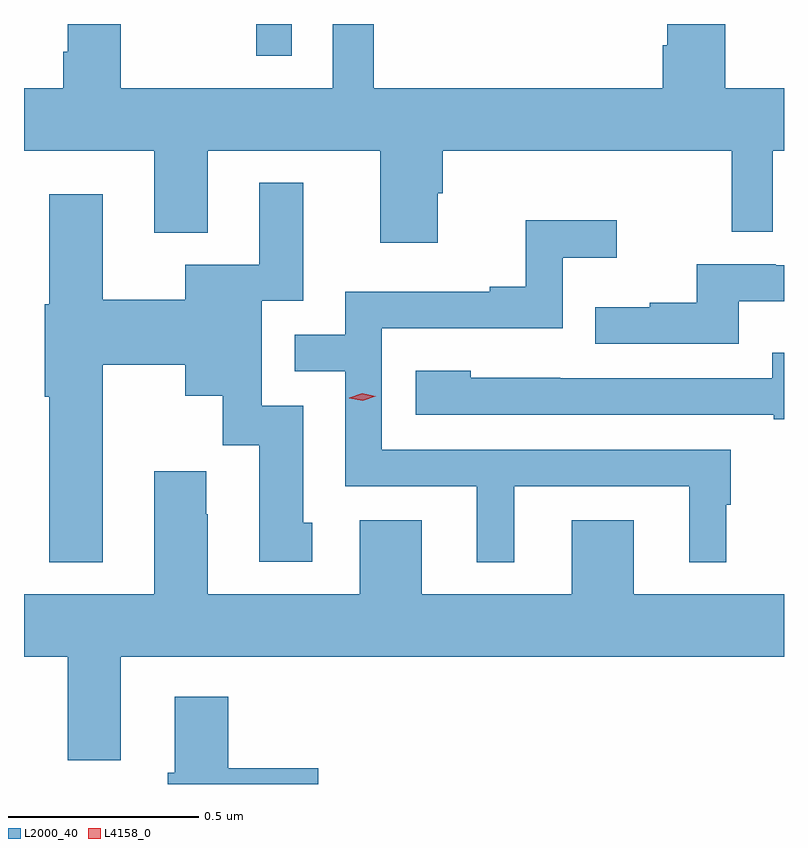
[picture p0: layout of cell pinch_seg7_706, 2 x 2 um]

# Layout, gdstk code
import gdstk
lib = gdstk.Library(unit=1e-6, precision=1e-09)
def R(c, l, rs):  # rectangles x0, y0, x1, y1
    for r in rs: c.add(gdstk.rectangle(r[:2], r[2:], *l))
def P(c, l, *ps):  # polygons
    for p in ps: c.add(gdstk.Polygon(p, *l))
L2000_40 = (2000, 40)
L4158_0 = (4158, 0)

pinch_seg7_706 = lib.new_cell('pinch_seg7_706')
R(pinch_seg7_706, L2000_40, [(214.149,1032.833,214.242,1032.917)])
P(pinch_seg7_706, L2000_40, [(214.627,1032.471),(214.64,1032.471),(214.64,1032.584),(215.4,1032.584),(215.4,1032.37),(215.508,1032.37),(215.508,1032.584),(215.538,1032.584),(215.538,1032.748),(215.383,1032.748),(215.383,1032.917),(215.231,1032.917),(215.231,1032.861),(215.219,1032.861),(215.219,1032.748),(214.459,1032.748),(214.459,1032.917),(214.35,1032.917),(214.35,1032.748),(213.793,1032.748),(213.793,1032.917),(213.653,1032.917),(213.653,1032.844),(213.641,1032.844),(213.641,1032.748),(213.538,1032.748),(213.538,1032.584),(213.881,1032.584),(213.881,1032.368),(214.021,1032.368),(214.021,1032.584),(214.475,1032.584),(214.475,1032.342),(214.627,1032.342)],
  [(213.745,1032.02),(213.962,1032.02),(213.962,1031.939),(214.061,1031.939),(214.061,1031.808),(214.157,1031.808),(214.157,1031.502),(214.297,1031.502),(214.297,1031.604),(214.273,1031.604),(214.273,1031.913),(214.164,1031.913),(214.164,1032.189),(214.273,1032.189),(214.273,1032.499),(214.157,1032.499),(214.157,1032.283),(213.962,1032.283),(213.962,1032.192),(213.745,1032.192),(213.745,1032.469),(213.605,1032.469),(213.605,1032.18),(213.593,1032.18),(213.593,1031.936),(213.605,1031.936),(213.605,1031.501),(213.745,1031.501)],
  [(214.828,1031.7),(215.288,1031.7),(215.288,1031.501),(215.386,1031.501),(215.386,1031.652),(215.398,1031.652),(215.398,1031.796),(214.479,1031.796),(214.479,1032.117),(214.956,1032.117),(214.956,1032.302),(215.098,1032.302),(215.098,1032.401),(214.858,1032.401),(214.858,1032.226),(214.763,1032.226),(214.763,1032.213),(214.383,1032.213),(214.383,1032.099),(214.25,1032.099),(214.25,1032.003),(214.383,1032.003),(214.383,1031.7),(214.73,1031.7),(214.73,1031.501),(214.828,1031.501)],
  [(215.419,1032.188),(215.538,1032.188),(215.538,1032.282),(215.516,1032.282),(215.516,1032.285),(215.309,1032.285),(215.309,1032.184),(215.185,1032.184),(215.185,1032.172),(215.041,1032.172),(215.041,1032.075),(215.419,1032.075)],
  [(215.538,1032.052),(215.507,1032.052),(215.507,1031.985),(214.949,1031.985),(214.949,1031.986),(214.713,1031.986),(214.713,1032.004),(214.569,1032.004),(214.569,1031.889),(215.511,1031.889),(215.511,1031.877),(215.538,1031.877)],
  [(213.793,1031.252),(215.538,1031.252),(215.538,1031.416),(215.143,1031.416),(215.143,1031.611),(214.979,1031.611),(214.979,1031.416),(214.585,1031.416),(214.585,1031.611),(214.421,1031.611),(214.421,1031.416),(214.021,1031.416),(214.021,1031.627),(214.018,1031.627),(214.018,1031.74),(213.881,1031.74),(213.881,1031.416),(213.538,1031.416),(213.538,1031.252),(213.653,1031.252),(213.653,1030.979),(213.793,1030.979)],
  [(214.312,1030.959),(214.076,1030.959),(214.076,1031.146),(213.935,1031.146),(213.935,1030.947),(213.916,1030.947),(213.916,1030.917),(214.312,1030.917)])
P(pinch_seg7_706, L4158_0, [(214.43,1031.925),(214.394,1031.932),(214.394,1031.932),(214.394,1031.933),(214.428,1031.945),(214.463,1031.937),(214.463,1031.937),(214.463,1031.937)])

lib.write_gds('pinch_seg7_706.gds')
